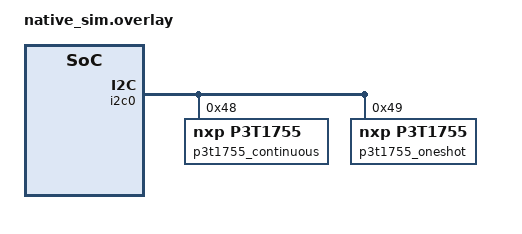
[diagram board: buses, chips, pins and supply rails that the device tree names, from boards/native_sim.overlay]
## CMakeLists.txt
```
# Copyright 2026 NXP
# SPDX-License-Identifier: Apache-2.0

cmake_minimum_required(VERSION 3.28.0)
find_package(Zephyr REQUIRED HINTS $ENV{ZEPHYR_BASE})
project(p3t1755)

target_sources(app PRIVATE
  src/p3t1755_emul.c
  src/p3t1755_test.c
)

zephyr_include_directories(
  src
  ${ZEPHYR_BASE}/drivers/sensor/nxp/p3t1755
)
```

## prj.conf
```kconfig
# Copyright 2026 NXP
# SPDX-License-Identifier: Apache-2.0

CONFIG_ZTEST=y
CONFIG_SENSOR=y
CONFIG_P3T1755=y
CONFIG_I2C=y
CONFIG_I2C_EMUL=y
CONFIG_EMUL=y
CONFIG_PM_DEVICE=y
```

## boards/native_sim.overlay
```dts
/*
 * Copyright 2026 NXP
 * SPDX-License-Identifier: Apache-2.0
 */

&i2c0 {
	status = "okay";

	p3t1755_continuous: p3t1755@48 {
		compatible = "nxp,p3t1755";
		reg = <0x48>;
	};

	p3t1755_oneshot: p3t1755@49 {
		compatible = "nxp,p3t1755";
		reg = <0x49>;
		oneshot-mode;
	};
};

/ {
	aliases {
		p3t1755 = &p3t1755_continuous;
		p3t1755-oneshot = &p3t1755_oneshot;
	};
};
```

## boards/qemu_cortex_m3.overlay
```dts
/*
 * Copyright 2026 NXP
 * SPDX-License-Identifier: Apache-2.0
 */

#include <zephyr/dt-bindings/i2c/i2c.h>

/ {
	aliases {
		p3t1755 = &p3t1755_continuous;
		p3t1755-oneshot = &p3t1755_oneshot;
	};

	fake_i2c_bus: i2c@100 {
		compatible = "zephyr,i2c-emul-controller";
		reg = <0x100 4>;
		clock-frequency = <I2C_BITRATE_STANDARD>;
		#address-cells = <1>;
		#size-cells = <0>;
		status = "okay";

		p3t1755_continuous: p3t1755@48 {
			compatible = "nxp,p3t1755";
			reg = <0x48>;
		};

		p3t1755_oneshot: p3t1755@49 {
			compatible = "nxp,p3t1755";
			reg = <0x49>;
			oneshot-mode;
		};
	};
};
```

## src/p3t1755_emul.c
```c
/*
 * Copyright 2026 NXP
 * SPDX-License-Identifier: Apache-2.0
 */

#define DT_DRV_COMPAT nxp_p3t1755

#include <errno.h>
#include <string.h>

#include <zephyr/device.h>
#include <zephyr/drivers/emul.h>
#include <zephyr/drivers/i2c.h>
#include <zephyr/drivers/i2c_emul.h>
#include <zephyr/sys/util.h>

#include "p3t1755.h"
#include "p3t1755_emul.h"

struct p3t1755_emul_data {
	uint8_t temperature[2];
	uint8_t config;
	uint32_t config_write_count;
	bool read_failure;
	bool write_failure;
};

void p3t1755_emul_reset(const struct emul *target)
{
	struct p3t1755_emul_data *data = target->data;

	memset(data, 0, sizeof(*data));
}

void p3t1755_emul_set_temperature(const struct emul *target, int16_t sample)
{
	struct p3t1755_emul_data *data = target->data;
	uint16_t raw = (uint16_t)sample << P3T1755_TEMPERATURE_REG_SHIFT;

	data->temperature[0] = raw >> 8;
	data->temperature[1] = raw;
}

uint8_t p3t1755_emul_get_config(const struct emul *target)
{
	struct p3t1755_emul_data *data = target->data;

	return data->config;
}

void p3t1755_emul_set_config(const struct emul *target, uint8_t config)
{
	struct p3t1755_emul_data *data = target->data;

	data->config = config;
}

uint32_t p3t1755_emul_get_config_write_count(const struct emul *target)
{
	struct p3t1755_emul_data *data = target->data;

	return data->config_write_count;
}

void p3t1755_emul_set_read_failure(const struct emul *target, bool fail)
{
	struct p3t1755_emul_data *data = target->data;

	data->read_failure = fail;
}

void p3t1755_emul_set_write_failure(const struct emul *target, bool fail)
{
	struct p3t1755_emul_data *data = target->data;

	data->write_failure = fail;
}

static int p3t1755_emul_transfer(const struct emul *target, struct i2c_msg *msgs,
				 int num_msgs, int addr)
{
	struct p3t1755_emul_data *data = target->data;
	uint8_t reg;

	ARG_UNUSED(addr);

	if ((msgs == NULL) || (num_msgs < 1) || (num_msgs > 2) ||
	    ((msgs[0].flags & I2C_MSG_READ) != 0U) || (msgs[0].len < 1U)) {
		return -EIO;
	}

	reg = msgs[0].buf[0];

	if (num_msgs != 2) {
		return -EIO;
	}

	if ((msgs[1].flags & I2C_MSG_READ) != 0U) {
		if (data->read_failure) {
			return -EIO;
		}

		switch (reg) {
		case P3T1755_TEMPERATURE_REG:
			if (msgs[1].len != sizeof(data->temperature)) {
				return -EIO;
			}
			memcpy(msgs[1].buf, data->temperature, sizeof(data->temperature));
			return 0;
		case P3T1755_CONFIG_REG:
			if (msgs[1].len != 1U) {
				return -EIO;
			}
			msgs[1].buf[0] = data->config;
			return 0;
		default:
			return -EIO;
		}
	}

	if (data->write_failure || (msgs[1].len != 1U) ||
	    (reg != P3T1755_CONFIG_REG)) {
		return -EIO;
	}

	data->config = msgs[1].buf[0];
	data->config_write_count++;

	return 0;
}

static int p3t1755_emul_init(const struct emul *target, const struct device *parent)
{
	ARG_UNUSED(parent);
	p3t1755_emul_reset(target);

	return 0;
}

static const struct i2c_emul_api p3t1755_emul_api = {
	.transfer = p3t1755_emul_transfer,
};

#define P3T1755_EMUL_DEFINE(inst)                                                     \
	static struct p3t1755_emul_data p3t1755_emul_data_##inst;                     \
	EMUL_DT_INST_DEFINE(inst, p3t1755_emul_init, &p3t1755_emul_data_##inst, NULL,  \
			    &p3t1755_emul_api, NULL)

DT_INST_FOREACH_STATUS_OKAY(P3T1755_EMUL_DEFINE)
```

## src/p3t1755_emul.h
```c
/*
 * Copyright 2026 NXP
 * SPDX-License-Identifier: Apache-2.0
 */

#ifndef ZEPHYR_TESTS_DRIVERS_SENSOR_P3T1755_EMUL_H_
#define ZEPHYR_TESTS_DRIVERS_SENSOR_P3T1755_EMUL_H_

#include <stdbool.h>
#include <stdint.h>

#include <zephyr/drivers/emul.h>

void p3t1755_emul_reset(const struct emul *target);
void p3t1755_emul_set_temperature(const struct emul *target, int16_t sample);
uint8_t p3t1755_emul_get_config(const struct emul *target);
void p3t1755_emul_set_config(const struct emul *target, uint8_t config);
uint32_t p3t1755_emul_get_config_write_count(const struct emul *target);
void p3t1755_emul_set_read_failure(const struct emul *target, bool fail);
void p3t1755_emul_set_write_failure(const struct emul *target, bool fail);

#endif /* ZEPHYR_TESTS_DRIVERS_SENSOR_P3T1755_EMUL_H_ */
```

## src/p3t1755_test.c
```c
/*
 * Copyright 2026 NXP
 * SPDX-License-Identifier: Apache-2.0
 */

#include <errno.h>

#include <zephyr/device.h>
#include <zephyr/devicetree.h>
#include <zephyr/drivers/emul.h>
#include <zephyr/drivers/sensor.h>
#include <zephyr/pm/device.h>
#include <zephyr/ztest.h>

#include "p3t1755.h"
#include "p3t1755_emul.h"

struct p3t1755_fixture {
	const struct device *dev;
	const struct emul *emul;
};

struct p3t1755_oneshot_fixture {
	const struct device *dev;
	const struct emul *emul;
};

static struct p3t1755_fixture continuous_fixture = {
	.dev = DEVICE_DT_GET(DT_ALIAS(p3t1755)),
	.emul = EMUL_DT_GET(DT_ALIAS(p3t1755)),
};

static struct p3t1755_oneshot_fixture oneshot_fixture = {
	.dev = DEVICE_DT_GET(DT_ALIAS(p3t1755_oneshot)),
	.emul = EMUL_DT_GET(DT_ALIAS(p3t1755_oneshot)),
};

static void *p3t1755_setup(void)
{
	zassert_true(device_is_ready(continuous_fixture.dev));
	zassert_not_null(continuous_fixture.emul);

	return &continuous_fixture;
}

static void *p3t1755_oneshot_setup(void)
{
	zassert_true(device_is_ready(oneshot_fixture.dev));
	zassert_not_null(oneshot_fixture.emul);

	return &oneshot_fixture;
}

static void p3t1755_reset(const struct device *dev, const struct emul *target)
{
	struct p3t1755_data *data = dev->data;

	p3t1755_emul_reset(target);
	data->sample = 0;
	data->config_reg = 0;
}

static void p3t1755_before(void *fixture_ptr)
{
	const struct p3t1755_fixture *fixture = fixture_ptr;

	p3t1755_reset(fixture->dev, fixture->emul);
}

static void p3t1755_oneshot_before(void *fixture_ptr)
{
	const struct p3t1755_oneshot_fixture *fixture = fixture_ptr;

	p3t1755_reset(fixture->dev, fixture->emul);
}

ZTEST_SUITE(p3t1755, NULL, p3t1755_setup, p3t1755_before, NULL, NULL);
ZTEST_SUITE(p3t1755_oneshot, NULL, p3t1755_oneshot_setup, p3t1755_oneshot_before, NULL,
	    NULL);

static void verify_temperature(const struct p3t1755_fixture *fixture, int16_t raw,
			       int32_t val1, int32_t val2)
{
	struct sensor_value value;

	p3t1755_emul_set_temperature(fixture->emul, raw);
	zassert_ok(sensor_sample_fetch(fixture->dev));
	zassert_ok(sensor_channel_get(fixture->dev, SENSOR_CHAN_AMBIENT_TEMP, &value));
	zassert_equal(val1, value.val1);
	zassert_equal(val2, value.val2);
}

ZTEST_F(p3t1755, test_temperature_conversion)
{
	verify_temperature(fixture, 0, 0, 0);
	verify_temperature(fixture, 408, 25, 500000);
	verify_temperature(fixture, -1, 0, -62500);
	verify_temperature(fixture, -640, -40, 0);
	verify_temperature(fixture, 2047, 127, 937500);
	verify_temperature(fixture, -2048, -128, 0);
}

ZTEST_F(p3t1755, test_supported_fetch_channels)
{
	p3t1755_emul_set_temperature(fixture->emul, 16);

	zassert_ok(sensor_sample_fetch(fixture->dev));
	zassert_ok(sensor_sample_fetch_chan(fixture->dev, SENSOR_CHAN_AMBIENT_TEMP));
}

ZTEST_F(p3t1755, test_unsupported_channels)
{
	struct sensor_value value;

	zassert_equal(-ENOTSUP, sensor_sample_fetch_chan(fixture->dev, SENSOR_CHAN_PRESS));
	zassert_equal(-ENOTSUP,
		      sensor_channel_get(fixture->dev, SENSOR_CHAN_PRESS, &value));
}

ZTEST_F(p3t1755, test_read_error_is_propagated)
{
	p3t1755_emul_set_read_failure(fixture->emul, true);
	zassert_equal(-EIO, sensor_sample_fetch(fixture->dev));
}

ZTEST_F(p3t1755, test_channel_get_uses_last_sample)
{
	struct sensor_value value;

	p3t1755_emul_set_temperature(fixture->emul, 16);
	zassert_ok(sensor_sample_fetch(fixture->dev));
	p3t1755_emul_set_temperature(fixture->emul, 32);

	zassert_ok(sensor_channel_get(fixture->dev, SENSOR_CHAN_AMBIENT_TEMP, &value));
	zassert_equal(1, value.val1);
	zassert_equal(0, value.val2);
}

ZTEST_F(p3t1755_oneshot, test_fetch_starts_one_shot_conversion)
{
	p3t1755_emul_set_temperature(fixture->emul, 400);

	zassert_ok(sensor_sample_fetch(fixture->dev));
	zassert_equal(P3T1755_CONFIG_REG_OS, p3t1755_emul_get_config(fixture->emul));
	zassert_equal(1, p3t1755_emul_get_config_write_count(fixture->emul));
}

ZTEST_F(p3t1755_oneshot, test_one_shot_write_error_is_propagated)
{
	p3t1755_emul_set_write_failure(fixture->emul, true);
	zassert_equal(-EIO, sensor_sample_fetch(fixture->dev));
}

ZTEST_F(p3t1755_oneshot, test_resume_configures_shutdown_mode)
{
	const uint8_t initial_config = BIT(2);

	p3t1755_emul_set_config(fixture->emul, initial_config);
	zassert_ok(pm_device_action_run(fixture->dev, PM_DEVICE_ACTION_SUSPEND));
	zassert_ok(pm_device_action_run(fixture->dev, PM_DEVICE_ACTION_RESUME));
	zassert_equal(initial_config | P3T1755_CONFIG_REG_SD,
		      p3t1755_emul_get_config(fixture->emul));
	zassert_equal(1, p3t1755_emul_get_config_write_count(fixture->emul));
}

ZTEST_F(p3t1755_oneshot, test_resume_read_error_is_propagated)
{
	zassert_ok(pm_device_action_run(fixture->dev, PM_DEVICE_ACTION_SUSPEND));
	p3t1755_emul_set_read_failure(fixture->emul, true);
	zassert_equal(-EIO, pm_device_action_run(fixture->dev, PM_DEVICE_ACTION_RESUME));

	p3t1755_emul_set_read_failure(fixture->emul, false);
	zassert_ok(pm_device_action_run(fixture->dev, PM_DEVICE_ACTION_RESUME));
}

ZTEST_F(p3t1755_oneshot, test_resume_write_error_is_propagated)
{
	zassert_ok(pm_device_action_run(fixture->dev, PM_DEVICE_ACTION_SUSPEND));
	p3t1755_emul_set_write_failure(fixture->emul, true);
	zassert_equal(-EIO, pm_device_action_run(fixture->dev, PM_DEVICE_ACTION_RESUME));

	p3t1755_emul_set_write_failure(fixture->emul, false);
	zassert_ok(pm_device_action_run(fixture->dev, PM_DEVICE_ACTION_RESUME));
}

ZTEST_F(p3t1755_oneshot, test_unsupported_pm_action)
{
	zassert_equal(-ENOTSUP,
		      pm_device_action_run(fixture->dev, PM_DEVICE_ACTION_TURN_OFF));
}
```
